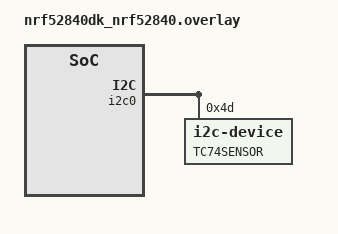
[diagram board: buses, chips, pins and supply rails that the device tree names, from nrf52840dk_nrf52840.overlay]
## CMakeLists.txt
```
cmake_minimum_required(VERSION 3.20.0)
find_package(Zephyr REQUIRED HINTS $ENV{ZEPHYR_BASE})

project(project2)

zephyr_include_directories(rtdb) #Add this line
target_include_directories(app PRIVATE src/rtdb) #Add this line

zephyr_include_directories(uart) #Add this line
target_include_directories(app PRIVATE src/uart) #Add this line

target_sources(app PRIVATE src/main.c)

target_sources(app PRIVATE src/rtdb/rtdb.c) # Add module c source

target_sources(app PRIVATE src/uart/uart.c) # Add module c source
```

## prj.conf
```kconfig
CONFIG_UART_CONSOLE=y
CONFIG_PRINTK=y
CONFIG_SERIAL=y
CONFIG_UART_ASYNC_API=y
CONFIG_TIMING_FUNCTIONS=y
CONFIG_I2C=y
CONFIG_GPIO=y
```

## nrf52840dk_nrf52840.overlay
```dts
// To get started, press Ctrl+Space to bring up the completion menu and view the available nodes.

// You can also use the buttons in the sidebar to perform actions on nodes.
// Actions currently available include:

// * Enabling / disabling the node
// * Adding the bus to a bus
// * Removing the node
// * Connecting ADC channels

// For more help, browse the DeviceTree documentation at https://docs.zephyrproject.org/latest/guides/dts/index.html
// You can also visit the nRF DeviceTree extension documentation at https://nrfconnect.github.io/vscode-nrf-connect/devicetree/nrfdevicetree.html
&i2c0 {
    tc74sensor: tc74sensor@4D{
        compatible = "i2c-device";
        reg = < 0x4D >;
        label = "TC74SENSOR";
    };
};
```

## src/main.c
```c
/*
 * Paulo Pedreiras, 2022/09
 *
 * Demo of the use of the UART driver.
 *      There are several APIs. The demo is based on the asynchronous API, which is very flexible and covers most of the use cases.
 *      The demo configures the UART and echoes the user input.
 *      Received characters are accumulated during a period set by MAIN_SLEEP_TIME_MS
 *      All UART events are echoed
 *
 * Info source:
 *      https://developer.nordicsemi.com/nRF_Connect_SDK/doc/latest/zephyr/reference/peripherals/uart.html?highlight=uart_configure#overview
 *
 * prj.conf should be set as follows:
 *
 *      To enable UART
 *          CONFIG_SERIAL=y
 *          CONFIG_UART_ASYNC_API=y
 *
 *
 */
/* Includes. Add according to the resources used  */
#include <zephyr/kernel.h>        /* for k_msleep() */
#include <zephyr/device.h>        /* for device_is_ready() and device structure */
#include <zephyr/devicetree.h>    /* for DT_NODELABEL() */
#include <zephyr/drivers/uart.h>  /* for ADC API*/
#include <zephyr/drivers/gpio.h>  /* for GPIO API*/
#include <zephyr/sys/printk.h>    /* for printk()*/
#include <stdio.h>                /* for sprintf() */
#include <zephyr/timing/timing.h> /* Kernel timing services */
#include <zephyr/drivers/i2c.h>   /* Required for  I2C */
#include <zephyr/sys/sem.h>
#include <stdlib.h>
#include <string.h>
#include "uart/uart.h"

#define UART_NODE DT_NODELABEL(uart0) /* UART0 node ID*/
#define MAIN_SLEEP_TIME_MS 10         /* Time between main() activations */

#define FATAL_ERR -1 /* Fatal error return code, app terminates */

#define RXBUF_SIZE 60   /* RX buffer size */
#define TXBUF_SIZE 60   /* TX buffer size */
#define RX_TIMEOUT 1000 /* Inactivity period after the instant when last char was received that triggers an rx event (in us) */

/* Size of stack area used by each thread (can be thread specific, if necessary)*/
#define STACK_SIZE 8192

/* Thread scheduling priority */
#define UART_prio 3
#define LEDS_prio 2
#define BTNS_prio 4
#define TC74_prio 1

/* Thread periodicity (in ms)*/
#define UART_period 1000
#define LEDS_period 100
#define BTNS_period 100
#define TC74_period 1000

/* Macros */
#define ACK_MSG_SIZE 9

/* IO Setup */
// LED nodes
#define LED0_NODE DT_ALIAS(led0)
#define LED1_NODE DT_ALIAS(led1)
#define LED2_NODE DT_ALIAS(led2)
#define LED3_NODE DT_ALIAS(led3)
static const struct gpio_dt_spec leds[] = {
    GPIO_DT_SPEC_GET(LED0_NODE, gpios),
    GPIO_DT_SPEC_GET(LED1_NODE, gpios),
    GPIO_DT_SPEC_GET(LED2_NODE, gpios),
    GPIO_DT_SPEC_GET(LED3_NODE, gpios)};

// Button nodes
#define SW0_NODE DT_ALIAS(sw0)
#define SW1_NODE DT_ALIAS(sw1)
#define SW2_NODE DT_ALIAS(sw2)
#define SW3_NODE DT_ALIAS(sw3)
static const struct gpio_dt_spec buttons[] = {
    GPIO_DT_SPEC_GET(SW0_NODE, gpios),
    GPIO_DT_SPEC_GET(SW1_NODE, gpios),
    GPIO_DT_SPEC_GET(SW2_NODE, gpios),
    GPIO_DT_SPEC_GET(SW3_NODE, gpios)};

// Button call back
static struct gpio_callback button_cb_data;

static unsigned char buttons_pressed = 0x0;

/* Create thread stack space */
K_THREAD_STACK_DEFINE(UART_stack, STACK_SIZE);
K_THREAD_STACK_DEFINE(LEDS_stack, STACK_SIZE);
K_THREAD_STACK_DEFINE(BTNS_stack, STACK_SIZE);
K_THREAD_STACK_DEFINE(TC74_stack, STACK_SIZE);

/* Create variables for thread data */
struct k_thread UART_data;
struct k_thread LEDS_data;
struct k_thread BTNS_data;
struct k_thread TC74_data;

/* Create task IDs */
k_tid_t UART_tid;
k_tid_t LEDS_tid;
k_tid_t BTNS_tid;
k_tid_t TC74_tid;

/* Thread code prototypes */
void button_pressed(struct gpio_callback *);
void UART_code(RTDB *db, void *argB, void *argC);
void LEDS_code(RTDB *db, void *argB, void *argC);
void BTNS_code(RTDB *db, void *argB, void *argC);
void TC74_code(RTDB *db, void *argB, void *argC);

/* Define timers for tasks activations */
K_TIMER_DEFINE(UART_timer, NULL, NULL);
K_TIMER_DEFINE(LEDS_timer, NULL, NULL);
K_TIMER_DEFINE(BTNS_timer, NULL, NULL);
K_TIMER_DEFINE(TC74_timer, NULL, NULL);

/* Struct for UART configuration (if using default values is not needed) */
const struct uart_config uart_cfg = {
    .baudrate = 115200,
    .parity = UART_CFG_PARITY_NONE,
    .stop_bits = UART_CFG_STOP_BITS_1,
    .data_bits = UART_CFG_DATA_BITS_8,
    .flow_ctrl = UART_CFG_FLOW_CTRL_NONE};

/* UART related variables */
const struct device *uart_dev = DEVICE_DT_GET(UART_NODE);
static uint8_t rx_buf[RXBUF_SIZE];   /* RX buffer, to store received data */
static uint8_t rx_chars[RXBUF_SIZE]; /* chars actually received  */
volatile int uart_rxbuf_nchar = 0;   /* Number of chars currrntly on the rx buffer */
char errCode;

#define RETRANSMISSION_DELAY_MS 5000 /* Time between retransmissions*/

/* UART callback function prototype */
static void uart_cb(const struct device *dev, struct uart_event *evt, void *user_data);

/* TC74 sensor-related defines */
#define TC74_ADDR 0x4D /* TC74 Address *** NOTE: CHECK THE SENSOR DATASHEET ADDRESS CAN BE DIFFERENT*** */
                       /* Do not forget to make sure that this address in set on the overlay file      */
                       /*    as the sensor address is obtained from the DT */

#define TC74_CMD_RTR 0x00  /* Read temperature command */
#define TC74_CMD_RWCR 0x01 /* Read/write configuration register */

/* I2C device vars and defines */
#define I2C0_NID DT_NODELABEL(tc74sensor)
static const struct i2c_dt_spec dev_i2c = I2C_DT_SPEC_GET(I2C0_NID);

/* Other defines*/
#define TC74_UPDATE_PERIOD_MS 1000 /* Time between temperature readings */

#define DEBUG 0 /* set to one to toggle printks */

/* Main function */
void main(void)
{

    RTDB *db = rtdb_create();
    UART_tid = k_thread_create(&UART_data, UART_stack,
                               K_THREAD_STACK_SIZEOF(UART_stack), UART_code,
                               db, NULL, NULL, UART_prio, 0, K_NO_WAIT);

    TC74_tid = k_thread_create(&TC74_data, TC74_stack,
                               K_THREAD_STACK_SIZEOF(TC74_stack), TC74_code,
                               db, NULL, NULL, TC74_prio, 0, K_NO_WAIT);

    LEDS_tid = k_thread_create(&LEDS_data, LEDS_stack,
                               K_THREAD_STACK_SIZEOF(LEDS_stack), LEDS_code,
                               db, NULL, NULL, LEDS_prio, 0, K_NO_WAIT);

    BTNS_tid = k_thread_create(&BTNS_data, BTNS_stack,
                               K_THREAD_STACK_SIZEOF(BTNS_stack), BTNS_code,
                               db, NULL, NULL, BTNS_prio, 0, K_NO_WAIT);
}

/* UART callback implementation */
/* Note that callback functions are executed in the scope of interrupt handlers. */
/* They run asynchronously after hardware/software interrupts and have a higher priority than all threads */
/* Should be kept as short and simple as possible. Heavier processing should be deferred to a task with suitable priority*/
static void uart_cb(const struct device *dev, struct uart_event *evt, void *user_data)
{
    int err;

    switch (evt->type)
    {

    case UART_TX_DONE:
        if (DEBUG)
            printk("UART_TX_DONE event \n\r");
        break;

    case UART_TX_ABORTED:
        if (DEBUG)
            printk("UART_TX_ABORTED event \n\r");
        break;

    case UART_RX_RDY:
        if (DEBUG)
            printk("UART_RX_RDY event \n\r");
        /* Just copy data to a buffer. Usually it is preferable to use e.g. a FIFO to communicate with a task that shall process the messages*/
        memcpy(&rx_chars[uart_rxbuf_nchar], &(rx_buf[evt->data.rx.offset]), evt->data.rx.len);
        uart_rxbuf_nchar++;
        break;

    case UART_RX_BUF_REQUEST:
        if (DEBUG)
            printk("UART_RX_BUF_REQUEST event \n\r");
        break;

    case UART_RX_BUF_RELEASED:
        if (DEBUG)
            printk("UART_RX_BUF_RELEASED event \n\r");
        break;

    case UART_RX_DISABLED:
        /* When the RX_BUFF becomes full RX is is disabled automaticaly.  */
        /* It must be re-enabled manually for continuous reception */
        if (DEBUG)
            printk("UART_RX_DISABLED event \n\r");
        err = uart_rx_enable(uart_dev, rx_buf, sizeof(rx_buf), RX_TIMEOUT);
        if (err)
        {
            printk("uart_rx_enable() error. Error code:%d\n\r", err);
            exit(FATAL_ERR);
        }
        break;

    case UART_RX_STOPPED:
        if (DEBUG)
            printk("UART_RX_STOPPED event \n\r");
        break;

    default:
        if (DEBUG)
            printk("UART: unknown event \n\r");
        break;
    }
}

char *rcv_msg(char *buffer, int i)
{
    int k = 0;
    char *msg = malloc(sizeof(char) * 30);

    // Read one command
    while (buffer[i] != '!')
    {
        msg[k] = buffer[i];

        if (-1 == --i)
            i = 63;

        if (29 == ++k)
        {
            if (DEBUG)
                printk("message too long: %d\n", k);
            memset(msg, 0, 30);
            errCode = '4';
            break;
        }

        if (buffer[i] == '#')
        {
            if (DEBUG)
                printk("bad message\n");
            memset(msg, 0, 30);
            errCode = '4';
            break;
        }
    }

    // Add '!' to the end of the command message
    msg[k] = '!';
    msg[++k] = '\0';

    // Reverse the command message
    int j = 0, l = strlen(msg) - 1;
    char temp;
    while (j < l)
    {
        temp = msg[j];
        msg[j] = msg[l];
        msg[l] = temp;
        l--, j++;
    }

    return msg;
}

void UART_code(RTDB *db, void *argB, void *argC)
{

    /* Local vars */
    int err = 0; /* Generic error variable */
    uint8_t rep_mesg[TXBUF_SIZE];

    /* Configure UART */
    err = uart_configure(uart_dev, &uart_cfg);
    if (err == -ENOSYS)
    { /* If invalid configuration */
        printk("uart_configure() error. Invalid configuration\n\r");
        return;
    }

    /* Register callback */
    err = uart_callback_set(uart_dev, uart_cb, NULL);
    if (err)
    {
        printk("uart_callback_set() error. Error code:%d\n\r", err);
        return;
    }

    /* Enable data reception */
    err = uart_rx_enable(uart_dev, rx_buf, sizeof(rx_buf), RX_TIMEOUT);
    if (err)
    {
        printk("uart_rx_enable() error. Error code:%d\n\r", err);
        return;
    }

    char buffer[64] = {0};
    int i = 0;
    char retransmission[70];
    int64_t fin_time = 0, release_time = 0;

    // Flag to wait for ACK
    int waitAck = 0;

    /* Main loop */
    while (1)
    {
        k_msleep(MAIN_SLEEP_TIME_MS);
        if (waitAck)
        {
            fin_time = k_uptime_get();
            if (fin_time > release_time)
            {
                release_time = fin_time + RETRANSMISSION_DELAY_MS;
                char clearLine[] = "\33[2K\r"; /* if the user is already writing the ack message erase it, send retransmission and send incomplete message*/
                err = uart_tx(uart_dev, clearLine, strlen(clearLine), SYS_FOREVER_MS);
                if (err)
                {
                    printk("uart_tx() error. Error code:%d\n\r", err);
                    return;
                }
                k_msleep(10);
                err = uart_tx(uart_dev, retransmission, strlen(retransmission), SYS_FOREVER_MS);
                if (err)
                {
                    printk("uart_tx() error. Error code:%d\n\r", err);
                    return;
                }
                k_msleep(10);
                if (strlen(buffer) > 0)
                {
                    err = uart_tx(uart_dev, buffer, strlen(buffer), SYS_FOREVER_MS);
                    if (err)
                    {
                        printk("uart_tx() error. Error code:%d\n\r", err);
                        return;
                    }
                    k_msleep(10);
                }
            }
        }

        if (uart_rxbuf_nchar > 0)
        {
            rx_chars[uart_rxbuf_nchar] = 0; /* Terminate the string */
            uart_rxbuf_nchar = 0;           /* Reset counter */

            for (int k = 0; k < strlen(rx_chars); k++)
                buffer[i] = rx_chars[k], i = ++i % 64;

            sprintf(rep_mesg, "%s", rx_chars);
            err = uart_tx(uart_dev, rep_mesg, strlen(rep_mesg), SYS_FOREVER_MS);
            if (err)
            {
                printk("uart_tx() error. Error code:%d\n\r", err);
                return;
            }
            k_msleep(1);

            if (strchr(buffer, '#') != NULL)
            {
                char newLine[] = "\r\n";
                err = uart_tx(uart_dev, newLine, strlen(newLine), SYS_FOREVER_MS);
                if (err)
                {
                    printk("uart_tx() error. Error code:%d\n\r", err);
                    return;
                }
                k_msleep(1);

                i--;
                errCode = '1';
                char *msg = rcv_msg(buffer, i);
                memset(buffer, 0, 64);
                i = 0;

                if (waitAck)
                {
                    if (uart_checkSum(msg) && msg[2] == 'Z' && msg[3] == retransmission[2] && msg[4] == '1')
                        waitAck = 0;
                    else
                    {
                        release_time = k_uptime_get() + RETRANSMISSION_DELAY_MS;
                        err = uart_tx(uart_dev, retransmission, strlen(retransmission), SYS_FOREVER_MS);
                        if (err)
                        {
                            printk("uart_tx() error. Error code:%d\n\r", err);
                            return;
                        }
                        k_msleep(1);
                    }
                }

                else
                {
                    // Send ACK
                    char ack[30] = "!1Z";
                    char id[2] = {msg[2], '\0'};
                    strcat(ack, id);
                    if (errCode == '4')
                    {
                        strcat(ack, "4");
                        uart_apply_checksum(ack, ACK_MSG_SIZE);
                        strcat(ack, "\r\n");
                        err = uart_tx(uart_dev, ack, strlen(ack), SYS_FOREVER_MS);
                        if (err)
                        {
                            printk("uart_tx() error. Error code:%d\n\r", err);
                            return;
                        }
                        k_msleep(1);
                    }

                    else if (msg[2] < '0' || msg[2] > '7')
                    {
                        strcat(ack, "2");
                        uart_apply_checksum(ack, ACK_MSG_SIZE);
                        strcat(ack, "\r\n");
                        err = uart_tx(uart_dev, ack, strlen(ack), SYS_FOREVER_MS);
                        if (err)
                        {
                            printk("uart_tx() error. Error code:%d\n\r", err);
                            return;
                        }
                        k_msleep(1);
                    }

                    else
                    {
                        if (uart_checkSum(msg)) // Checksum is correct
                        {
                            strcat(ack, "1");
                            uart_apply_checksum(ack, ACK_MSG_SIZE);
                            strcat(ack, "\r\n");
                            err = uart_tx(uart_dev, ack, strlen(ack), SYS_FOREVER_MS);
                            if (err)
                            {
                                printk("uart_tx() error. Error code:%d\n\r", err);
                                return;
                            }
                            k_msleep(1);
                            char *response = uart_interface(db, msg);

                            if (strlen(response) > 5)
                            {
                                err = uart_tx(uart_dev, response, strlen(response), SYS_FOREVER_MS);
                                if (err)
                                {
                                    printk("uart_tx() error. Error code:%d\n\r", err);
                                    return;
                                }
                                k_msleep(1);

                                waitAck = 1;
                                release_time = k_uptime_get() + RETRANSMISSION_DELAY_MS;
                                memcpy(retransmission, response, strlen(response) + 1);
                                free(response);
                            }
                        }

                        else
                        {
                            strcat(ack, "3");
                            uart_apply_checksum(ack, ACK_MSG_SIZE);
                            strcat(ack, "\r\n");
                            err = uart_tx(uart_dev, ack, strlen(ack), SYS_FOREVER_MS);
                            if (err)
                            {
                                printk("uart_tx() error. Error code:%d\n\r", err);
                                return;
                            }
                            k_msleep(1);
                        }
                        memset(msg, 0, 30);
                    }
                }
                free(msg);
            }

            // it should only go up to 63 due to buffer size
            // i = ++i % 64;
        }
        // printk(".\n");
    }
}

void LEDS_code(RTDB *db, void *argB, void *argC)
{
    int ret[4];

    // Check if GPIO devices are ready
    for (int i = 0; i < 4; i++)
        if (!device_is_ready(leds[i].port))
        {
            printk("Error: GPIO %d output devices not ready\n", i);
            return;
        }

    // Check if GPIO devices are configured correctly
    for (int i = 0; i < 4; i++)
        if (gpio_pin_configure_dt(&leds[i], GPIO_OUTPUT_ACTIVE) < 0)
        {
            printk("Error: GPIO %d output devices not configured\n", i);
            return;
        }

    while (1)
    {
        k_msleep(LEDS_period);
        unsigned char o = rtdb_get_outputs(db);
        if (DEBUG)
            printk("leds: %x\n", o);

        // Set LEDs to match rtdb values
        for (int i = 0; i < 4; i++)
            gpio_pin_set(leds[i].port, leds[i].pin, o & (0x01 << i));
    }
}

void BTNS_code(RTDB *db, void *argB, void *argC)
{
    // Check if GPIO devices are ready
    for (int i = 0; i < 4; i++)
        if (!device_is_ready(buttons[i].port))
        {
            printk("Error: GPIO %d output devices not ready\n", i);
            return;
        }

    // Check if GPIO devices are configured correctly
    for (int i = 0; i < 4; i++)
        if (gpio_pin_configure_dt(&buttons[i], GPIO_INPUT) < 0)
        {
            printk("Error: GPIO %d output devices not configured\n", i);
            return;
        }

    // Configure GPIO devices' interrupts
    for (int i = 0; i < 4; i++)
        if (gpio_pin_interrupt_configure_dt(&buttons[i], GPIO_INT_TRIG_BOTH) < 0)
        {
            printk("Error: GPIO %d interrupts not properly configured\n", i);
            return;
        }

    // Setup callback functions
    gpio_init_callback(&button_cb_data, button_pressed, BIT(buttons[0].pin) | BIT(buttons[1].pin) | BIT(buttons[2].pin) | BIT(buttons[3].pin));
    for (int i = 0; i < 4; i++)
        gpio_add_callback(buttons[i].port, &button_cb_data);

    while (1)
    {
        k_msleep(BTNS_period);
        rtdb_set_inputs(db, buttons_pressed);
    }
}

void TC74_code(RTDB *db, void *argB, void *argC)
{
    int ret = 0;      /* General return variable */
    uint8_t temp = 0; /* Temperature value (raw read from sensor)*/

    if (!device_is_ready(dev_i2c.bus))
    {
        printk("I2C bus %s is not ready!\n\r", dev_i2c.bus->name);
        return;
    }
    else
    {
        printk("I2C bus %s, device address %x ready\n\r", dev_i2c.bus->name, dev_i2c.addr);
    }

    /* Write (command RTR) to set the read address to temperature */
    /* Only necessary if a config done before (not the case), but let's stay in the safe side */
    ret = i2c_write_dt(&dev_i2c, TC74_CMD_RTR, 1);
    if (ret != 0)
    {
        printk("Failed to write to I2C device at address %x, register %x\n\r", dev_i2c.addr, TC74_CMD_RTR);
    }
    while (1)
    {
        k_msleep(TC74_UPDATE_PERIOD_MS);
        /* Read temperature register */
        ret = i2c_read_dt(&dev_i2c, &temp, sizeof(temp));
        if (ret != 0)
        {
            printk("Failed to read from I2C device at address %x, register  at Reg. %x\n\r", dev_i2c.addr, TC74_CMD_RTR);
        }

        rtdb_insert_temp(db, temp);

        /* Pause  */
    }
}

void button_pressed(struct gpio_callback *cb)
{
    for (int i = 0; i < 4; i++)
        if (gpio_pin_get(buttons[i].port, buttons[i].pin))
        {
            buttons_pressed |= 0x01 << i;
            if (DEBUG)
                printk("Button %d pressed\n", i + 1);
        } else {
            buttons_pressed &= ~(0x01 << i);
        }
}
```

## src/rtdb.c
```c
#include "include/rtdb.h"
#include <stdlib.h>
#include <stdio.h>

RTDB* rtdb_create(void) {
    RTDB* db = (RTDB*)malloc(sizeof(RTDB));
    db->io = 0x00;
    
    for (int i = 0; i < 20; i++) 
        db->temp[i] = 0;

    return db;
}

int rtdb_get_high(RTDB* db) {
    int high = db->temp[0];
    for (int i = 1; i < 20; i++)
        if (db->temp[i] > high)
            high = db->temp[i];
    return high;
}

int rtdb_get_low(RTDB* db) {
    int low = db->temp[0];
    for (int i = 1; i < 20; i++)
        if (db->temp[i] < low)
            low = db->temp[i];
    return low;
}

void rtdb_insert_temp(RTDB* db, int temp) {
    for (int i = 1; i < 20; i++)
        db->temp[i] = db->temp[i-1];
    db->temp[0] = temp;
}

void set_outputs(RTDB* db, unsigned char o) {
    db->io = (db->io & 0xF0) | (o & 0x0F);
    printf("io: %x\n", db->io);
}

void set_output_at_index(RTDB* db, int index, unsigned char o) {
    if (o) 
        db->io |= (1 << index);
    else 
        db->io &= ~(1 << index);

    printf("io: %x\n", db->io);
}

void set_inputs(RTDB* db, unsigned char i) {
    db->io = (i << 4) | (db->io & 0x0F);
}
```

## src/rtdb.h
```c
#ifndef __RTDB__
#define __RTDB__

typedef struct rtdb RTDB;

struct rtdb{
    // Since we are using a bitfield, and there are 4 LEDs and 4 Buttons 
    // we can use a single char to store the state of all of them
    char io;
    // Array to store the past 20 temperature values
    int temp[20];
};

RTDB* rtdb_create(void);

// Temperature functions
int rtdb_get_high(RTDB*);
int rtdb_get_low(RTDB*);
void rtdb_insert_temp(RTDB*, int);

// IO functions
void set_outputs(RTDB*, char);
void set_output_at_index(RTDB*, int, char);
void set_inputs(RTDB*, char);

#endif
```

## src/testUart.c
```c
#include <stdio.h>
#include <stdlib.h>

int main(void)
{
    char cmd[9] = {'!', '0', '0', '1', '1', '1', '9', '4', '#'};
    int temp[5] = {0, -2, -26, 10, 54};

    int size = 1;
    char* payload = malloc(sizeof(char) * 3 * size);
    int divisor = 1;

    for (int i = 0; i < size; i++){
        for (int j = 0; j < 2; j++){
            if (j == 0) payload[3*i] = temp[i] < 0 ? '-' : '+';
            else
                payload[3*i + 1] = abs(temp[i]) / 10 + '0',
                payload[3*i + 2] = abs(temp[i]) % 10 + '0';
        }
    }

    printf("payload: %s\n", payload);
    
    payload = malloc(sizeof(char) * 3 * size);
    size = 5;

    for (int i = 0; i < size; i++){
        for (int j = 0; j < 2; j++){
            if (j == 0) payload[3*i] = temp[i] < 0 ? '-' : '+';
            else
                payload[3*i + 1] = abs(temp[i]) / 10 + '0',
                payload[3*i + 2] = abs(temp[i]) % 10 + '0';
        }
    }

    printf("payload: %s\n", payload);

    return 0;
}
```

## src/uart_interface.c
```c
#include "uart_interface.h"
#include <stdlib.h>
#include <stdio.h>
#include <ctype.h>

char uart_lut(char c) {
    if (isdigit(c)) {
        return c - '0';
    } else if (isxdigit(c)) {
        return toupper(c) - 'A' + 10;
    } else {
        // Handle invalid characters if needed
        return 0; // Default value for invalid characters
    }
}

void uart_interface(RTDB* db, char* cmd){
    printf("cmd: %s\n", cmd);

    int index;
    char bin;

    if (cmd[1] == '0'){
        switch (cmd[2])
        {
            case '0':
                index = (int) uart_lut(cmd[3]);
                bin = uart_lut(cmd[4]);
                set_inputs(db, 0xFF);
                set_output_at_index(db, --index, bin);
                break;
            
            case '1':
                bin = uart_lut(cmd[3]);
                set_inputs(db, 0xFF);
                set_outputs(db, bin);
                break;

            default: break;
        }
    }
}
```
